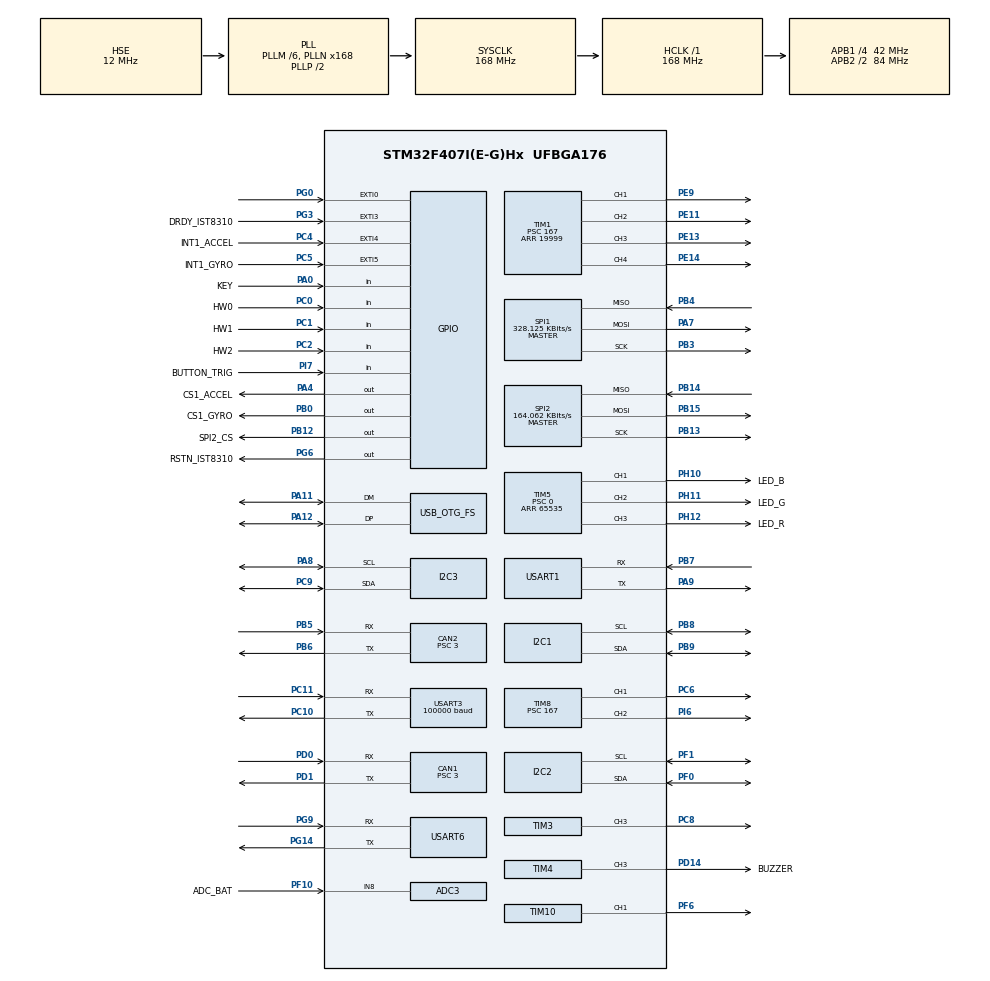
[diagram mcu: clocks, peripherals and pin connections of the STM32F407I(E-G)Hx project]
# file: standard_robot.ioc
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ADC1.Channel-0\#ChannelRegularConversion=ADC_CHANNEL_TEMPSENSOR
ADC1.ClockPrescaler=ADC_CLOCK_SYNC_PCLK_DIV6
ADC1.NbrOfConversionFlag=1
ADC1.Rank-0\#ChannelRegularConversion=1
ADC1.SamplingTime-0\#ChannelRegularConversion=ADC_SAMPLETIME_3CYCLES
ADC1.master=1
ADC3.Channel-0\#ChannelRegularConversion=ADC_CHANNEL_8
ADC3.ClockPrescaler=ADC_CLOCK_SYNC_PCLK_DIV6
ADC3.NbrOfConversionFlag=1
ADC3.Rank-0\#ChannelRegularConversion=1
ADC3.SamplingTime-0\#ChannelRegularConversion=ADC_SAMPLETIME_3CYCLES
CAN1.BS1=CAN_BS1_10TQ
CAN1.BS2=CAN_BS2_3TQ
CAN1.CalculateBaudRate=1000000
CAN1.CalculateTimeBit=999.99
CAN1.CalculateTimeQuantum=71.42857142857143
CAN1.Prescaler=3
CAN2.BS1=CAN_BS1_10TQ
CAN2.BS2=CAN_BS2_3TQ
CAN2.CalculateBaudRate=1000000
CAN2.CalculateTimeBit=999.99
CAN2.CalculateTimeQuantum=71.42857142857143
CAN2.Prescaler=3
Dma.I2C2_TX.2.Direction=DMA_MEMORY_TO_PERIPH
Dma.I2C2_TX.2.FIFOMode=DMA_FIFOMODE_DISABLE
Dma.I2C2_TX.2.Instance=DMA1_Stream7
Dma.I2C2_TX.2.MemDataAlignment=DMA_MDATAALIGN_BYTE
Dma.I2C2_TX.2.MemInc=DMA_MINC_ENABLE
Dma.I2C2_TX.2.Mode=DMA_NORMAL
Dma.I2C2_TX.2.PeriphDataAlignment=DMA_PDATAALIGN_BYTE
Dma.I2C2_TX.2.PeriphInc=DMA_PINC_DISABLE
Dma.I2C2_TX.2.Priority=DMA_PRIORITY_HIGH
Dma.Request0=SPI1_RX
Dma.Request1=SPI1_TX
Dma.Request2=I2C2_TX
Dma.Request3=USART3_RX
Dma.Request4=USART6_RX
Dma.Request5=USART6_TX
Dma.Request6=USART1_TX
Dma.Request7=USART1_RX
Dma.SPI1_RX.0.Direction=DMA_PERIPH_TO_MEMORY
Dma.SPI1_RX.0.FIFOMode=DMA_FIFOMODE_DISABLE
Dma.SPI1_RX.0.Instance=DMA2_Stream2
Dma.SPI1_RX.0.MemDataAlignment=DMA_MDATAALIGN_BYTE
Dma.SPI1_RX.0.MemInc=DMA_MINC_ENABLE
Dma.SPI1_RX.0.Mode=DMA_NORMAL
Dma.SPI1_RX.0.PeriphDataAlignment=DMA_PDATAALIGN_BYTE
Dma.SPI1_RX.0.PeriphInc=DMA_PINC_DISABLE
Dma.SPI1_RX.0.Priority=DMA_PRIORITY_VERY_HIGH
Dma.SPI1_TX.1.Direction=DMA_MEMORY_TO_PERIPH
Dma.SPI1_TX.1.FIFOMode=DMA_FIFOMODE_DISABLE
Dma.SPI1_TX.1.Instance=DMA2_Stream3
Dma.SPI1_TX.1.MemDataAlignment=DMA_MDATAALIGN_BYTE
Dma.SPI1_TX.1.MemInc=DMA_MINC_ENABLE
Dma.SPI1_TX.1.Mode=DMA_NORMAL
Dma.SPI1_TX.1.PeriphDataAlignment=DMA_PDATAALIGN_BYTE
Dma.SPI1_TX.1.PeriphInc=DMA_PINC_DISABLE
Dma.SPI1_TX.1.Priority=DMA_PRIORITY_HIGH
Dma.USART1_RX.7.Direction=DMA_PERIPH_TO_MEMORY
Dma.USART1_RX.7.FIFOMode=DMA_FIFOMODE_DISABLE
Dma.USART1_RX.7.Instance=DMA2_Stream5
Dma.USART1_RX.7.MemDataAlignment=DMA_MDATAALIGN_BYTE
Dma.USART1_RX.7.MemInc=DMA_MINC_ENABLE
Dma.USART1_RX.7.Mode=DMA_CIRCULAR
Dma.USART1_RX.7.PeriphDataAlignment=DMA_PDATAALIGN_BYTE
Dma.USART1_RX.7.PeriphInc=DMA_PINC_DISABLE
Dma.USART1_RX.7.Priority=DMA_PRIORITY_MEDIUM
Dma.USART1_TX.6.Direction=DMA_MEMORY_TO_PERIPH
Dma.USART1_TX.6.FIFOMode=DMA_FIFOMODE_DISABLE
Dma.USART1_TX.6.Instance=DMA2_Stream7
Dma.USART1_TX.6.MemDataAlignment=DMA_MDATAALIGN_BYTE
Dma.USART1_TX.6.MemInc=DMA_MINC_ENABLE
Dma.USART1_TX.6.Mode=DMA_NORMAL
Dma.USART1_TX.6.PeriphDataAlignment=DMA_PDATAALIGN_BYTE
Dma.USART1_TX.6.PeriphInc=DMA_PINC_DISABLE
Dma.USART1_TX.6.Priority=DMA_PRIORITY_MEDIUM
Dma.USART3_RX.3.Direction=DMA_PERIPH_TO_MEMORY
Dma.USART3_RX.3.FIFOMode=DMA_FIFOMODE_DISABLE
Dma.USART3_RX.3.Instance=DMA1_Stream1
Dma.USART3_RX.3.MemDataAlignment=DMA_MDATAALIGN_BYTE
Dma.USART3_RX.3.MemInc=DMA_MINC_ENABLE
Dma.USART3_RX.3.Mode=DMA_NORMAL
Dma.USART3_RX.3.PeriphDataAlignment=DMA_PDATAALIGN_BYTE
Dma.USART3_RX.3.PeriphInc=DMA_PINC_DISABLE
Dma.USART3_RX.3.Priority=DMA_PRIORITY_HIGH
Dma.USART6_RX.4.Direction=DMA_PERIPH_TO_MEMORY
Dma.USART6_RX.4.FIFOMode=DMA_FIFOMODE_DISABLE
Dma.USART6_RX.4.Instance=DMA2_Stream1
Dma.USART6_RX.4.MemDataAlignment=DMA_MDATAALIGN_BYTE
Dma.USART6_RX.4.MemInc=DMA_MINC_ENABLE
Dma.USART6_RX.4.Mode=DMA_NORMAL
Dma.USART6_RX.4.PeriphDataAlignment=DMA_PDATAALIGN_BYTE
Dma.USART6_RX.4.PeriphInc=DMA_PINC_DISABLE
Dma.USART6_RX.4.Priority=DMA_PRIORITY_HIGH
Dma.USART6_TX.5.Direction=DMA_MEMORY_TO_PERIPH
Dma.USART6_TX.5.FIFOMode=DMA_FIFOMODE_DISABLE
Dma.USART6_TX.5.Instance=DMA2_Stream6
Dma.USART6_TX.5.MemDataAlignment=DMA_MDATAALIGN_BYTE
Dma.USART6_TX.5.MemInc=DMA_MINC_ENABLE
Dma.USART6_TX.5.Mode=DMA_NORMAL
Dma.USART6_TX.5.PeriphDataAlignment=DMA_PDATAALIGN_BYTE
Dma.USART6_TX.5.PeriphInc=DMA_PINC_DISABLE
Dma.USART6_TX.5.Priority=DMA_PRIORITY_MEDIUM
FREERTOS.INCLUDE_eTaskGetState=1
FREERTOS.INCLUDE_pcTaskGetTaskName=1
FREERTOS.INCLUDE_uxTaskGetStackHighWaterMark=1
FREERTOS.INCLUDE_vTaskCleanUpResources=1
FREERTOS.INCLUDE_vTaskDelayUntil=1
FREERTOS.INCLUDE_xEventGroupSetBitFromISR=1
FREERTOS.INCLUDE_xQueueGetMutexHolder=1
FREERTOS.INCLUDE_xSemaphoreGetMutexHolder=1
FREERTOS.INCLUDE_xTaskAbortDelay=1
FREERTOS.INCLUDE_xTaskGetCurrentTaskHandle=1
FREERTOS.INCLUDE_xTaskGetHandle=1
FREERTOS.INCLUDE_xTimerPendFunctionCall=1
FREERTOS.Tasks01=test,24,128,test_task,As weak,NULL,Dynamic,NULL,NULL
FREERTOS.configTOTAL_HEAP_SIZE=24576
I2C1.I2C_Mode=I2C_Fast
I2C2.I2C_Mode=I2C_Fast
I2C3.I2C_Mode=I2C_Fast
Mcu.Family=STM32F4
Mcu.Name=STM32F407I(E-G)Hx
Mcu.Package=UFBGA176
NVIC.CAN1_RX0_IRQn=true\:6\:0\:true\:false\:true\:true\:true\:true
NVIC.CAN2_RX0_IRQn=true\:6\:0\:true\:false\:true\:true\:true\:true
NVIC.DMA1_Stream1_IRQn=true\:5\:0\:true\:false\:false\:true\:false\:false
NVIC.DMA1_Stream7_IRQn=true\:5\:0\:true\:false\:false\:true\:false\:true
NVIC.DMA2_Stream1_IRQn=true\:5\:0\:true\:false\:true\:true\:false\:true
NVIC.DMA2_Stream2_IRQn=true\:5\:0\:true\:false\:false\:true\:false\:true
NVIC.DMA2_Stream3_IRQn=true\:5\:0\:true\:false\:false\:true\:false\:true
NVIC.DMA2_Stream5_IRQn=true\:5\:0\:false\:false\:true\:true\:false\:true
NVIC.DMA2_Stream6_IRQn=true\:5\:0\:true\:false\:true\:true\:false\:true
NVIC.DMA2_Stream7_IRQn=true\:5\:0\:true\:false\:true\:true\:false\:true
NVIC.EXTI0_IRQn=true\:6\:0\:true\:false\:true\:true\:true\:true
NVIC.EXTI3_IRQn=true\:5\:0\:true\:false\:true\:true\:true\:true
NVIC.EXTI4_IRQn=true\:5\:0\:true\:false\:true\:true\:true\:true
NVIC.EXTI9_5_IRQn=true\:5\:0\:true\:false\:true\:true\:true\:true
NVIC.OTG_FS_IRQn=true\:5\:0\:false\:false\:true\:true\:false\:true
NVIC.PriorityGroup=NVIC_PRIORITYGROUP_4
NVIC.TIM8_TRG_COM_TIM14_IRQn=true\:0\:0\:false\:false\:true\:false\:false\:true
NVIC.TimeBase=TIM8_TRG_COM_TIM14_IRQn
NVIC.TimeBaseIP=TIM14
NVIC.USART3_IRQn=true\:4\:0\:true\:false\:false\:false\:true\:true
NVIC.USART6_IRQn=true\:5\:0\:true\:false\:false\:true\:true\:true
PA0-WKUP.GPIO_Label=KEY
PA0-WKUP.GPIO_PuPd=GPIO_PULLUP
PA0-WKUP.Signal=GPIO_Input
PA11.Mode=Device_Only
PA11.Signal=USB_OTG_FS_DM
PA12.Mode=Device_Only
PA12.Signal=USB_OTG_FS_DP
PA13.Mode=Serial_Wire
PA13.Signal=SYS_JTMS-SWDIO
PA14.Mode=Serial_Wire
PA14.Signal=SYS_JTCK-SWCLK
PA4.GPIO_Label=CS1_ACCEL
PA4.GPIO_PuPd=GPIO_PULLUP
PA4.GPIO_Speed=GPIO_SPEED_FREQ_HIGH
PA4.PinState=GPIO_PIN_SET
PA4.Signal=GPIO_Output
PA7.GPIO_PuPd=GPIO_PULLUP
PA7.Mode=Full_Duplex_Master
PA7.Signal=SPI1_MOSI
PA8.Mode=I2C
PA8.Signal=I2C3_SCL
PA9.Mode=Asynchronous
PA9.Signal=USART1_TX
PB0.GPIO_Label=CS1_GYRO
PB0.GPIO_PuPd=GPIO_PULLUP
PB0.GPIO_Speed=GPIO_SPEED_FREQ_HIGH
PB0.PinState=GPIO_PIN_SET
PB0.Signal=GPIO_Output
PB12.GPIO_Label=SPI2_CS
PB12.GPIO_PuPd=GPIO_PULLUP
PB12.GPIO_Speed=GPIO_SPEED_FREQ_MEDIUM
PB12.PinState=GPIO_PIN_SET
PB12.Signal=GPIO_Output
PB13.GPIO_PuPd=GPIO_PULLUP
PB13.Mode=Full_Duplex_Master
PB13.Signal=SPI2_SCK
PB14.GPIO_PuPd=GPIO_PULLUP
PB14.Mode=Full_Duplex_Master
PB14.Signal=SPI2_MISO
PB15.GPIO_PuPd=GPIO_PULLUP
PB15.Mode=Full_Duplex_Master
PB15.Signal=SPI2_MOSI
PB3.GPIO_PuPd=GPIO_PULLUP
PB3.Mode=Full_Duplex_Master
PB3.Signal=SPI1_SCK
PB4.GPIO_PuPd=GPIO_PULLUP
PB4.Mode=Full_Duplex_Master
PB4.Signal=SPI1_MISO
PB5.Mode=CAN_Activate
PB5.Signal=CAN2_RX
PB6.Mode=CAN_Activate
PB6.Signal=CAN2_TX
PB7.Mode=Asynchronous
PB7.Signal=USART1_RX
PB8.Mode=I2C
PB8.Signal=I2C1_SCL
PB9.Mode=I2C
PB9.Signal=I2C1_SDA
PC0.GPIO_Label=HW0
PC0.Signal=GPIO_Input
PC1.GPIO_Label=HW1
PC1.Signal=GPIO_Input
PC10.Mode=Asynchronous
PC10.Signal=USART3_TX
PC11.Mode=Asynchronous
PC11.Signal=USART3_RX
PC2.GPIO_Label=HW2
PC2.Signal=GPIO_Input
PC4.GPIO_Label=INT1_ACCEL
PC4.GPIO_ModeDefaultEXTI=GPIO_MODE_IT_FALLING
PC4.GPIO_PuPd=GPIO_PULLUP
PC4.Signal=GPXTI4
PC5.GPIO_Label=INT1_GYRO
PC5.GPIO_ModeDefaultEXTI=GPIO_MODE_IT_FALLING
PC5.GPIO_PuPd=GPIO_PULLUP
PC5.Signal=GPXTI5
PC6.GPIO_PuPd=GPIO_PULLUP
PC6.GPIO_Speed=GPIO_SPEED_FREQ_HIGH
PC6.Signal=S_TIM8_CH1
PC8.GPIO_PuPd=GPIO_PULLUP
PC8.GPIO_Speed=GPIO_SPEED_FREQ_HIGH
PC8.Signal=S_TIM3_CH3
PC9.Mode=I2C
PC9.Signal=I2C3_SDA
PD0.Mode=CAN_Activate
PD0.Signal=CAN1_RX
PD1.Mode=CAN_Activate
PD1.Signal=CAN1_TX
PD14.GPIO_Label=BUZZER
PD14.GPIO_PuPd=GPIO_PULLUP
PD14.GPIO_Speed=GPIO_SPEED_FREQ_VERY_HIGH
PD14.Signal=S_TIM4_CH3
PE11.GPIO_PuPd=GPIO_PULLUP
PE11.GPIO_Speed=GPIO_SPEED_FREQ_HIGH
PE11.Signal=S_TIM1_CH2
PE13.GPIO_PuPd=GPIO_PULLUP
PE13.GPIO_Speed=GPIO_SPEED_FREQ_HIGH
PE13.Signal=S_TIM1_CH3
PE14.GPIO_PuPd=GPIO_PULLUP
PE14.GPIO_Speed=GPIO_SPEED_FREQ_HIGH
PE14.Signal=S_TIM1_CH4
PE9.GPIO_PuPd=GPIO_PULLUP
PE9.GPIO_Speed=GPIO_SPEED_FREQ_HIGH
PE9.Signal=S_TIM1_CH1
PF0.Mode=I2C
PF0.Signal=I2C2_SDA
PF1.Mode=I2C
PF1.Signal=I2C2_SCL
PF10.GPIO_Label=ADC_BAT
PF10.Mode=IN8
PF10.Signal=ADC3_IN8
PF6.GPIO_PuPd=GPIO_PULLUP
PF6.GPIO_Speed=GPIO_SPEED_FREQ_HIGH
PF6.Signal=S_TIM10_CH1
PG0.GPIO_ModeDefaultEXTI=GPIO_MODE_IT_FALLING
PG0.GPIO_PuPd=GPIO_PULLUP
PG0.Signal=GPXTI0
PG14.Mode=Asynchronous
PG14.Signal=USART6_TX
PG3.GPIO_Label=DRDY_IST8310
PG3.GPIO_ModeDefaultEXTI=GPIO_MODE_IT_FALLING
PG3.GPIO_PuPd=GPIO_PULLUP
PG3.Signal=GPXTI3
PG6.GPIO_Label=RSTN_IST8310
PG6.GPIO_PuPd=GPIO_PULLUP
PG6.GPIO_Speed=GPIO_SPEED_FREQ_MEDIUM
PG6.PinState=GPIO_PIN_SET
PG6.Signal=GPIO_Output
PG9.Mode=Asynchronous
PG9.Signal=USART6_RX
PH0-OSC_IN.Mode=HSE-External-Oscillator
PH0-OSC_IN.Signal=RCC_OSC_IN
PH1-OSC_OUT.Mode=HSE-External-Oscillator
PH1-OSC_OUT.Signal=RCC_OSC_OUT
PH10.GPIO_Label=LED_B
PH10.GPIO_PuPd=GPIO_PULLUP
PH10.GPIO_Speed=GPIO_SPEED_FREQ_HIGH
PH10.Signal=S_TIM5_CH1
PH11.GPIO_Label=LED_G
PH11.GPIO_PuPd=GPIO_PULLUP
PH11.GPIO_Speed=GPIO_SPEED_FREQ_HIGH
PH11.Signal=S_TIM5_CH2
PH12.GPIO_Label=LED_R
PH12.GPIO_PuPd=GPIO_PULLUP
PH12.GPIO_Speed=GPIO_SPEED_FREQ_HIGH
PH12.Signal=S_TIM5_CH3
PI6.GPIO_PuPd=GPIO_PULLUP
PI6.GPIO_Speed=GPIO_SPEED_FREQ_HIGH
PI6.Signal=S_TIM8_CH2
PI7.GPIO_Label=BUTTON_TRIG
PI7.GPIO_PuPd=GPIO_PULLUP
PI7.Signal=GPIO_Input
ProjectManager.HeapSize=0x2000
ProjectManager.StackSize=0x2000
ProjectManager.TargetToolchain=MDK-ARM V5
RCC.48MHZClocksFreq_Value=48000000
RCC.AHBFreq_Value=168000000
RCC.APB1CLKDivider=RCC_HCLK_DIV4
RCC.APB1Freq_Value=42000000
RCC.APB1TimFreq_Value=84000000
RCC.APB2CLKDivider=RCC_HCLK_DIV2
RCC.APB2Freq_Value=84000000
RCC.APB2TimFreq_Value=168000000
RCC.CortexFreq_Value=168000000
RCC.HCLKFreq_Value=168000000
RCC.HSE_VALUE=12000000
RCC.HSI_VALUE=16000000
RCC.LSE_VALUE=32768
RCC.PLLM=6
RCC.PLLN=168
RCC.PLLQ=7
RCC.RCC_RTC_Clock_SourceVirtual=RCC_RTCCLKSOURCE_HSE_DIV30
RCC.RCC_RTC_Clock_Source_FROM_HSE=RCC_RTCCLKSOURCE_HSE_DIV30
RCC.SYSCLKFreq_VALUE=168000000
RCC.SYSCLKSource=RCC_SYSCLKSOURCE_PLLCLK
RCC.VCOOutputFreq_Value=336000000
RTC.AsynchPrediv=124
RTC.SynchPrediv=3199
SH.S_TIM10_CH1.0=TIM10_CH1,PWM Generation1 CH1
SH.S_TIM1_CH1.0=TIM1_CH1,PWM Generation1 CH1
SH.S_TIM1_CH2.0=TIM1_CH2,PWM Generation2 CH2
SH.S_TIM1_CH3.0=TIM1_CH3,PWM Generation3 CH3
SH.S_TIM1_CH4.0=TIM1_CH4,PWM Generation4 CH4
SH.S_TIM3_CH3.0=TIM3_CH3,PWM Generation3 CH3
SH.S_TIM4_CH3.0=TIM4_CH3,PWM Generation3 CH3
SH.S_TIM5_CH1.0=TIM5_CH1,PWM Generation1 CH1
SH.S_TIM5_CH2.0=TIM5_CH2,PWM Generation2 CH2
SH.S_TIM5_CH3.0=TIM5_CH3,PWM Generation3 CH3
SH.S_TIM8_CH1.0=TIM8_CH1,PWM Generation1 CH1
SH.S_TIM8_CH2.0=TIM8_CH2,PWM Generation2 CH2
SPI1.BaudRatePrescaler=SPI_BAUDRATEPRESCALER_256
SPI1.CLKPhase=SPI_PHASE_2EDGE
SPI1.CLKPolarity=SPI_POLARITY_HIGH
SPI1.CalculateBaudRate=328.125 KBits/s
SPI1.Direction=SPI_DIRECTION_2LINES
SPI1.Mode=SPI_MODE_MASTER
SPI1.VirtualType=VM_MASTER
SPI2.BaudRatePrescaler=SPI_BAUDRATEPRESCALER_256
SPI2.CLKPhase=SPI_PHASE_2EDGE
SPI2.CLKPolarity=SPI_POLARITY_HIGH
SPI2.CalculateBaudRate=164.062 KBits/s
SPI2.Direction=SPI_DIRECTION_2LINES
SPI2.Mode=SPI_MODE_MASTER
SPI2.VirtualType=VM_MASTER
TIM1.Channel-PWM\ Generation1\ CH1=TIM_CHANNEL_1
TIM1.Channel-PWM\ Generation2\ CH2=TIM_CHANNEL_2
TIM1.Channel-PWM\ Generation3\ CH3=TIM_CHANNEL_3
TIM1.Channel-PWM\ Generation4\ CH4=TIM_CHANNEL_4
TIM1.Period=19999
TIM1.Prescaler=167
TIM1.Pulse-PWM\ Generation1\ CH1=1000
TIM1.Pulse-PWM\ Generation2\ CH2=1000
TIM1.Pulse-PWM\ Generation3\ CH3=1000
TIM1.Pulse-PWM\ Generation4\ CH4=1000
TIM10.Channel=TIM_CHANNEL_1
TIM10.Period=4999
TIM3.Channel-PWM\ Generation3\ CH3=TIM_CHANNEL_3
TIM3.Period=8399
TIM4.Channel-PWM\ Generation3\ CH3=TIM_CHANNEL_3
TIM4.Period=65535
TIM4.Prescaler=167
TIM5.Channel-PWM\ Generation1\ CH1=TIM_CHANNEL_1
TIM5.Channel-PWM\ Generation2\ CH2=TIM_CHANNEL_2
TIM5.Channel-PWM\ Generation3\ CH3=TIM_CHANNEL_3
TIM5.Period=65535
TIM5.Prescaler=0
TIM8.Channel-PWM\ Generation1\ CH1=TIM_CHANNEL_1
TIM8.Channel-PWM\ Generation2\ CH2=TIM_CHANNEL_2
TIM8.Period=19999
TIM8.Prescaler=167
TIM8.Pulse-PWM\ Generation1\ CH1=1000
TIM8.Pulse-PWM\ Generation2\ CH2=1000
USART1.VirtualMode=VM_ASYNC
USART3.BaudRate=100000
USART3.Parity=PARITY_EVEN
USART3.VirtualMode=VM_ASYNC
USART6.VirtualMode=VM_ASYNC
USB_DEVICE.CLASS_NAME_FS=CDC
USB_DEVICE.VirtualMode-CDC_FS=Cdc
USB_DEVICE.VirtualModeFS=Cdc_FS
USB_OTG_FS.VirtualMode=Device_Only
VP_ADC1_TempSens_Input.Mode=IN-TempSens
VP_ADC1_Vref_Input.Mode=IN-Vrefint
VP_CRC_VS_CRC.Mode=CRC_Activate
VP_FREERTOS_VS_CMSIS_V1.Mode=CMSIS_V1
VP_RNG_VS_RNG.Mode=RNG_Activate
VP_RTC_VS_RTC_Activate.Mode=RTC_Enabled
VP_SYS_VS_tim14.Mode=TIM14
VP_TIM10_VS_ClockSourceINT.Mode=Enable_Timer
VP_TIM1_VS_ClockSourceINT.Mode=Internal
VP_TIM3_VS_ClockSourceINT.Mode=Internal
VP_TIM4_VS_ClockSourceINT.Mode=Internal
VP_TIM5_VS_ClockSourceINT.Mode=Internal
VP_TIM8_VS_ClockSourceINT.Mode=Internal
VP_USB_DEVICE_VS_USB_DEVICE_CDC_FS.Mode=CDC_FS
board=custom

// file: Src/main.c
/* USER CODE BEGIN Header */
/**
  ******************************************************************************
  * @file           : main.c
  * @brief          : Main program body
  ******************************************************************************
  * @attention
  *
  * <h2><center>&copy; Copyright (c) 2019 STMicroelectronics.
  * All rights reserved.</center></h2>
  *
  * This software component is licensed by ST under Ultimate Liberty license
  * SLA0044, the "License"; You may not use this file except in compliance with
  * the License. You may obtain a copy of the License at:
  *                             www.st.com/SLA0044
  *
  ******************************************************************************
  */
/* USER CODE END Header */
#include "main.h"
#include "cmsis_os.h"
#include "adc.h"
#include "can.h"
#include "crc.h"
#include "dma.h"
#include "i2c.h"
#include "rng.h"
#include "rtc.h"
#include "spi.h"
#include "tim.h"
#include "usart.h"
#include "usb_device.h"
#include "gpio.h"

/* USER CODE BEGIN Includes */
#include "bsp_can.h"
#include "bsp_delay.h"
#include "bsp_usart.h"
#include "remote_control.h"

#include "calibrate_task.h"
#include "chassis_task.h"
#include "detect_task.h"
#include "gimbal_task.h"
#include "INS_task.h"
#include "led_flow_task.h"
#include "oled_task.h"
#include "referee_usart_task.h"
#include "usb_task.h"
#include "voltage_task.h"
/* USER CODE END Includes */

void SystemClock_Config(void);
void MX_FREERTOS_Init(void);

int main(void)
{

    /* MCU Configuration--------------------------------------------------------*/

    /* Reset of all peripherals, Initializes the Flash interface and the Systick. */
    HAL_Init();

    /* Configure the system clock */
    SystemClock_Config();

    /* Initialize all configured peripherals */
    MX_GPIO_Init();
    MX_DMA_Init();
    MX_ADC1_Init();
    MX_ADC3_Init();
    MX_CAN1_Init();
    MX_CAN2_Init();
    MX_I2C1_Init();
    MX_SPI1_Init();
    MX_TIM4_Init();
    MX_TIM5_Init();
    MX_USART3_UART_Init();
    MX_TIM8_Init();
    MX_CRC_Init();
    MX_RNG_Init();
    MX_I2C2_Init();
    MX_I2C3_Init();
    MX_RTC_Init();
    MX_SPI2_Init();
    MX_TIM1_Init();
    MX_TIM3_Init();
    MX_TIM10_Init();
    MX_USART1_UART_Init();
    MX_USART6_UART_Init();
    /* USER CODE BEGIN 2 */
    can_filter_init();
    delay_init();
    cali_param_init();
    remote_control_init();
    usart1_tx_dma_init();
    /* USER CODE END 2 */

    /* Call init function for freertos objects (in freertos.c) */
    MX_FREERTOS_Init();
    /* Start scheduler */
    osKernelStart();

    /* We should never get here as control is now taken by the scheduler */
    /* Infinite loop */
    while (1)
    {

    }
}

void SystemClock_Config(void)
{
    RCC_OscInitTypeDef RCC_OscInitStruct = {0};
    RCC_ClkInitTypeDef RCC_ClkInitStruct = {0};
    RCC_PeriphCLKInitTypeDef PeriphClkInitStruct = {0};

    /** Configure the main internal regulator output voltage
    */
    __HAL_RCC_PWR_CLK_ENABLE();
    __HAL_PWR_VOLTAGESCALING_CONFIG(PWR_REGULATOR_VOLTAGE_SCALE1);
    /** Initializes the RCC Oscillators according to the specified parameters
    * in the RCC_OscInitTypeDef structure.
    */
    RCC_OscInitStruct.OscillatorType = RCC_OSCILLATORTYPE_HSE;
    RCC_OscInitStruct.HSEState = RCC_HSE_ON;
    RCC_OscInitStruct.PLL.PLLState = RCC_PLL_ON;
    RCC_OscInitStruct.PLL.PLLSource = RCC_PLLSOURCE_HSE;
    RCC_OscInitStruct.PLL.PLLM = 6;
    RCC_OscInitStruct.PLL.PLLN = 168;
    RCC_OscInitStruct.PLL.PLLP = RCC_PLLP_DIV2;
    RCC_OscInitStruct.PLL.PLLQ = 7;
    if (HAL_RCC_OscConfig(&RCC_OscInitStruct) != HAL_OK)
    {
        Error_Handler();
    }
    /** Initializes the CPU, AHB and APB buses clocks
    */
    RCC_ClkInitStruct.ClockType = RCC_CLOCKTYPE_HCLK|RCC_CLOCKTYPE_SYSCLK
                                  |RCC_CLOCKTYPE_PCLK1|RCC_CLOCKTYPE_PCLK2;
    RCC_ClkInitStruct.SYSCLKSource = RCC_SYSCLKSOURCE_PLLCLK;
    RCC_ClkInitStruct.AHBCLKDivider = RCC_SYSCLK_DIV1;
    RCC_ClkInitStruct.APB1CLKDivider = RCC_HCLK_DIV4;
    RCC_ClkInitStruct.APB2CLKDivider = RCC_HCLK_DIV2;

    if (HAL_RCC_ClockConfig(&RCC_ClkInitStruct, FLASH_LATENCY_5) != HAL_OK)
    {
        Error_Handler();
    }
    PeriphClkInitStruct.PeriphClockSelection = RCC_PERIPHCLK_RTC;
    PeriphClkInitStruct.RTCClockSelection = RCC_RTCCLKSOURCE_HSE_DIV30;
    if (HAL_RCCEx_PeriphCLKConfig(&PeriphClkInitStruct) != HAL_OK)
    {
        Error_Handler();
    }
}

void HAL_TIM_PeriodElapsedCallback(TIM_HandleTypeDef *htim)
{
    if (htim->Instance == TIM14) {
        HAL_IncTick();
    }
}

void Error_Handler(void)
{
}

/************************ (C) COPYRIGHT STMicroelectronics *****END OF FILE****/

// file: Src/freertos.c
/* USER CODE BEGIN Header */
/**
  ******************************************************************************
  * File Name          : freertos.c
  * Description        : Code for freertos applications
  ******************************************************************************
  * @attention
  *
  * <h2><center>&copy; Copyright (c) 2019 STMicroelectronics.
  * All rights reserved.</center></h2>
  *
  * This software component is licensed by ST under Ultimate Liberty license
  * SLA0044, the "License"; You may not use this file except in compliance with
  * the License. You may obtain a copy of the License at:
  *                             www.st.com/SLA0044
  *
  ******************************************************************************
  */
/* USER CODE END Header */

#include "FreeRTOS.h"
#include "task.h"
#include "main.h"
#include "cmsis_os.h"

/* USER CODE BEGIN Includes */

#include "calibrate_task.h"
#include "chassis_task.h"
#include "detect_task.h"
#include "gimbal_task.h"
#include "INS_task.h"
#include "led_flow_task.h"
#include "oled_task.h"
#include "referee_usart_task.h"
#include "usb_task.h"
#include "voltage_task.h"
#include "servo_task.h"

//yzz add
#include "protocol_send_task.h"
#include "protocol_receive_task.h"
#include "unpack_task.h"

//lyd add here
#include "catch_task.h"

//lyd zyf add here
#include "read_angle.h"
#include "electronic.h"
/* USER CODE END Includes */

/* USER CODE BEGIN PTD */

osThreadId calibrate_tast_handle;
osThreadId chassisTaskHandle;
osThreadId detect_handle;
osThreadId gimbalTaskHandle;
osThreadId imuTaskHandle;
osThreadId led_RGB_flow_handle;
osThreadId oled_handle;
osThreadId referee_usart_task_handle;
osThreadId usb_task_handle;
osThreadId battery_voltage_handle;
osThreadId servo_task_handle;

//yzz add
osThreadId protocol_send_task_handle;
osThreadId protocol_receive_task_handle;
osThreadId unpack_task_handle;

//lyd add here
osThreadId catchTaskHandle;

//lyd zyf add here
osThreadId AngleTaskHandle;
osThreadId ElectronicHandle;

/* USER CODE END PTD */

osThreadId testHandle;

void test_task(void const * argument);

extern void MX_USB_DEVICE_Init(void);
void MX_FREERTOS_Init(void); /* (MISRA C 2004 rule 8.1) */

/* GetIdleTaskMemory prototype (linked to static allocation support) */
void vApplicationGetIdleTaskMemory( StaticTask_t **ppxIdleTaskTCBBuffer, StackType_t **ppxIdleTaskStackBuffer, uint32_t *pulIdleTaskStackSize );

/* GetTimerTaskMemory prototype (linked to static allocation support) */
void vApplicationGetTimerTaskMemory( StaticTask_t **ppxTimerTaskTCBBuffer, StackType_t **ppxTimerTaskStackBuffer, uint32_t *pulTimerTaskStackSize );

/* USER CODE BEGIN GET_IDLE_TASK_MEMORY */
static StaticTask_t xIdleTaskTCBBuffer;
static StackType_t xIdleStack[configMINIMAL_STACK_SIZE];

void vApplicationGetIdleTaskMemory( StaticTask_t **ppxIdleTaskTCBBuffer, StackType_t **ppxIdleTaskStackBuffer, uint32_t *pulIdleTaskStackSize )
{
    *ppxIdleTaskTCBBuffer = &xIdleTaskTCBBuffer;
    *ppxIdleTaskStackBuffer = &xIdleStack[0];
    *pulIdleTaskStackSize = configMINIMAL_STACK_SIZE;
    /* place for user code */
}
/* USER CODE END GET_IDLE_TASK_MEMORY */

/* USER CODE BEGIN GET_TIMER_TASK_MEMORY */
static StaticTask_t xTimerTaskTCBBuffer;
static StackType_t xTimerStack[configTIMER_TASK_STACK_DEPTH];

void vApplicationGetTimerTaskMemory( StaticTask_t **ppxTimerTaskTCBBuffer, StackType_t **ppxTimerTaskStackBuffer, uint32_t *pulTimerTaskStackSize )
{
    *ppxTimerTaskTCBBuffer = &xTimerTaskTCBBuffer;
    *ppxTimerTaskStackBuffer = &xTimerStack[0];
    *pulTimerTaskStackSize = configTIMER_TASK_STACK_DEPTH;
    /* place for user code */
}
/* USER CODE END GET_TIMER_TASK_MEMORY */

void MX_FREERTOS_Init(void) {

    /* Create the thread(s) */
    /* definition and creation of test */
    osThreadDef(test, test_task, osPriorityNormal, 0, 128);
    testHandle = osThreadCreate(osThread(test), NULL);

    /* USER CODE BEGIN RTOS_THREADS */
    /* add threads, ... */
    osThreadDef(cali, calibrate_task, osPriorityNormal, 0, 512);
    calibrate_tast_handle = osThreadCreate(osThread(cali), NULL);

    osThreadDef(ChassisTask, chassis_task, osPriorityAboveNormal, 0, 512);
    chassisTaskHandle = osThreadCreate(osThread(ChassisTask), NULL);

    osThreadDef(DETECT, detect_task, osPriorityNormal, 0, 256);
    detect_handle = osThreadCreate(osThread(DETECT), NULL);

//    osThreadDef(gimbalTask, gimbal_task, osPriorityHigh, 0, 512);
//    gimbalTaskHandle = osThreadCreate(osThread(gimbalTask), NULL);

    osThreadDef(imuTask, INS_task, osPriorityRealtime, 0, 1024);
    imuTaskHandle = osThreadCreate(osThread(imuTask), NULL);

    osThreadDef(led, led_RGB_flow_task, osPriorityNormal, 0, 256);
    led_RGB_flow_handle = osThreadCreate(osThread(led), NULL);

    osThreadDef(OLED, oled_task, osPriorityNormal, 0, 256);
    oled_handle = osThreadCreate(osThread(OLED), NULL);

//    osThreadDef(REFEREE, referee_usart_task, osPriorityNormal, 0, 128);
//    referee_usart_task_handle = osThreadCreate(osThread(REFEREE), NULL);

    osThreadDef(USBTask, usb_task, osPriorityNormal, 0, 128);
    usb_task_handle = osThreadCreate(osThread(USBTask), NULL);

    osThreadDef(BATTERY_VOLTAGE, battery_voltage_task, osPriorityNormal, 0, 128);
    battery_voltage_handle = osThreadCreate(osThread(BATTERY_VOLTAGE), NULL);

    osThreadDef(SERVO, servo_task, osPriorityNormal, 0, 128);
    servo_task_handle = osThreadCreate(osThread(SERVO), NULL);

    //lyd add here
    osThreadDef(CatchTask, catch_task, osPriorityAboveNormal, 0, 256);
    catchTaskHandle = osThreadCreate(osThread(CatchTask), NULL);
    //lyd zyf add here
    osThreadDef(ANGLE, angle_usart_task, osPriorityAboveNormal, 0, 256);
    AngleTaskHandle = osThreadCreate(osThread(ANGLE), NULL);

    osThreadDef(ELECTRONIC, electronic_task, osPriorityNormal, 0, 256);
    AngleTaskHandle = osThreadCreate(osThread(ELECTRONIC), NULL);
    // yzz add here
    osThreadDef(USBsend, protocol_send_task, osPriorityLow, 0, 256);
    protocol_send_task_handle = osThreadCreate(osThread(USBsend), NULL);

    osThreadDef(USBreceive, protocol_receive_task, osPriorityLow, 0, 256);
    protocol_receive_task_handle = osThreadCreate(osThread(USBreceive), NULL);

    osThreadDef(USBunpack, unpack_task, osPriorityLow, 0, 256);
    unpack_task_handle = osThreadCreate(osThread(USBunpack), NULL);
    /* USER CODE END RTOS_THREADS */

}

__weak void test_task(void const * argument)
{
    /* init code for USB_DEVICE */
    MX_USB_DEVICE_Init();
    for(;;)
    {
        osDelay(1);
    }
}

/************************ (C) COPYRIGHT STMicroelectronics *****END OF FILE****/
